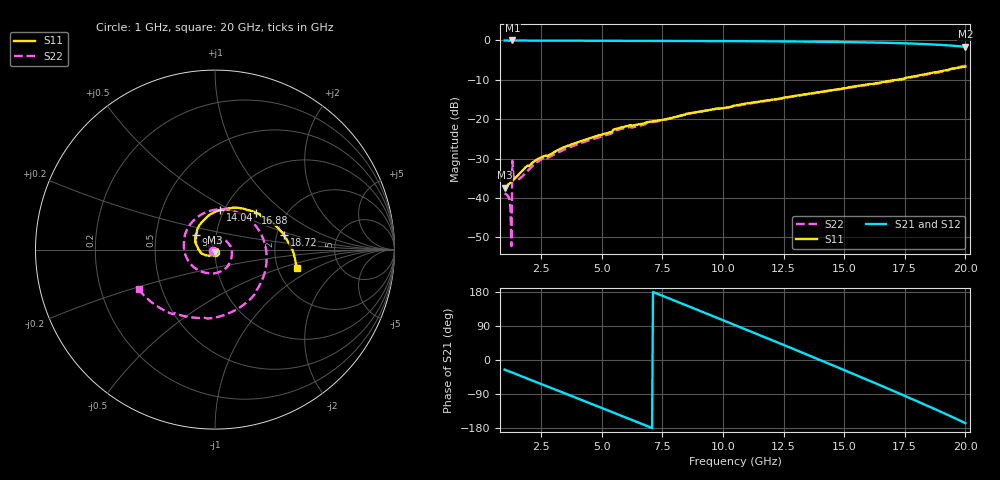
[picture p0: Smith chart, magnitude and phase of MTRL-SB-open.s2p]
! Multiline TRL de-embedded results
! Powered by MTRL v0.1 based on Matlab. Written by Simon.
! 29-Mar-2016 20:38:10
# hz S ma R 50
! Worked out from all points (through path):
!   476 points, 1 GHz to 20 GHz, reference 50 ohm
!   highest |S21| = 0.00 dB at 1.32 GHz (marker M1); lowest = -1.6 dB at 20 GHz (marker M2)
!   group delay of S21, straight-line fit = 72.8 ps
!   lowest |S11| = -37.4 dB at 1 GHz (marker M3), VSWR 1.03, Z = 50.1 - j1.35 ohm
!   |S11| at or under -10 dB: start of sweep to 17.12 GHz; 17.12872 GHz to 17.17149 GHz (42.76 MHz wide, 0.249 % of centre)
!   |S22| runs from -52.2 to -6.4 dB; largest |S21 - S12| = 0
!   S11 on the Smith chart (normalised r, x): 1 GHz: 1.00, -0.03; 9.64 GHz: 0.80, +0.13; 14.04 GHz: 0.96, +0.44; 16.88 GHz: 1.42, +0.65; 18.72 GHz: 2.20, +0.42; 20 GHz: 2.54, -0.68
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1e9  0.0135 -84.2  0.9983 -25.4  0.9983 -25.4  0.01146 -151.3
1.16e9  0.01494 -88.3  0.997 -29.5  0.997 -29.5  0.01033 -157.2
1.2e9  0.01531 -89.1  0.9964 -30.5  0.9964 -30.5  0.009487 -159.2
1.32e9  0.01653 -91.2  1 -33.0  1 -33.0  0.02958 -132.9
1.4e9  0.01744 -92.4  0.9984 -35.4  0.9984 -35.4  0.01768 -158.3
1.56e9  0.01956 -94.8  0.9971 -39.5  0.9971 -39.5  0.01708 -166.6
2.84e9  0.03507 -120.9  0.9954 -71.8  0.9954 -71.8  0.03308 155.4
4.2e9  0.0534 -141.5  0.9939 -106.1  0.9939 -106.1  0.05043 109.5
5.88e9  0.07951 -165.5  0.9907 -148.8  0.9907 -148.8  0.07609 48.8
7.36e9  0.0964 173.4  0.9883 173.3  0.9883 173.3  0.09455 -6.9
8.44e9  0.1137 158.9  0.9868 145.6  0.9868 145.6  0.1128 -47.6
9.64e9  0.1345 143.4  0.9835 114.4  0.9835 114.4  0.1339 -94.5
1.052e10  0.1495 131.3  0.9809 91.6  0.9809 91.6  0.1471 -127.8
1.196e10  0.1753 111.3  0.9751 54.1  0.9751 54.1  0.1736 176.3
1.368e10  0.2135 88.0  0.9656 8.7  0.9656 8.7  0.2112 108.7
1.404e10  0.2222 82.8  0.9633 -0.9  0.9633 -0.9  0.2195 94.6
1.532e10  0.2578 65.2  0.9517 -35.1  0.9517 -35.1  0.2537 43.6
1.684e10  0.3053 42.9  0.9328 -76.3  0.9328 -76.3  0.299 -18.0
1.688e10  0.3069 42.3  0.9321 -77.4  0.9321 -77.4  0.3005 -19.6
1.78e10  0.346 27.4  0.9139 -103.0  0.9139 -103.0  0.3409 -56.9
1.872e10  0.394 12.0  0.8873 -129.0  0.8873 -129.0  0.3863 -96.1
2e10  0.4672 -13.0  0.8318 -166.7  0.8318 -166.7  0.4787 -152.5
